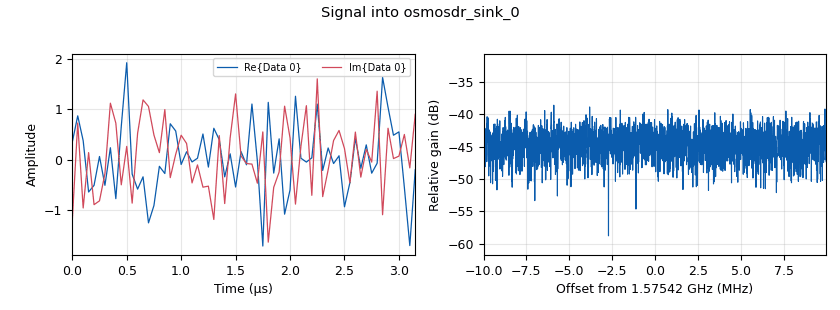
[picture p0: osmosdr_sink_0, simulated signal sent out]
options:
  parameters:
    generate_options: qt_gui
    id: JammerA1X10
    output_language: python
    title: Not titled yet
  states: {}

blocks:
- name: samp_rate
  id: variable
  parameters:
    value: 20e6
  states: {}
- name: analog_noise_source_x_0
  id: analog_noise_source_x
  parameters:
    amp: '1'
    noise_type: analog.GR_GAUSSIAN
    seed: '0'
    type: complex
  states: {}
- name: osmosdr_sink_0
  id: osmosdr_sink
  parameters:
    bb_gain0: '0'
    bw0: 20e6
    freq0: 1.57542e9
    gain0: '14'
    if_gain0: '40'
    sample_rate: samp_rate
    sync: sync
    type: fc32
  states: {}

connections:
- [analog_noise_source_x_0, '0', osmosdr_sink_0, '0']

metadata:
  file_format: 1
